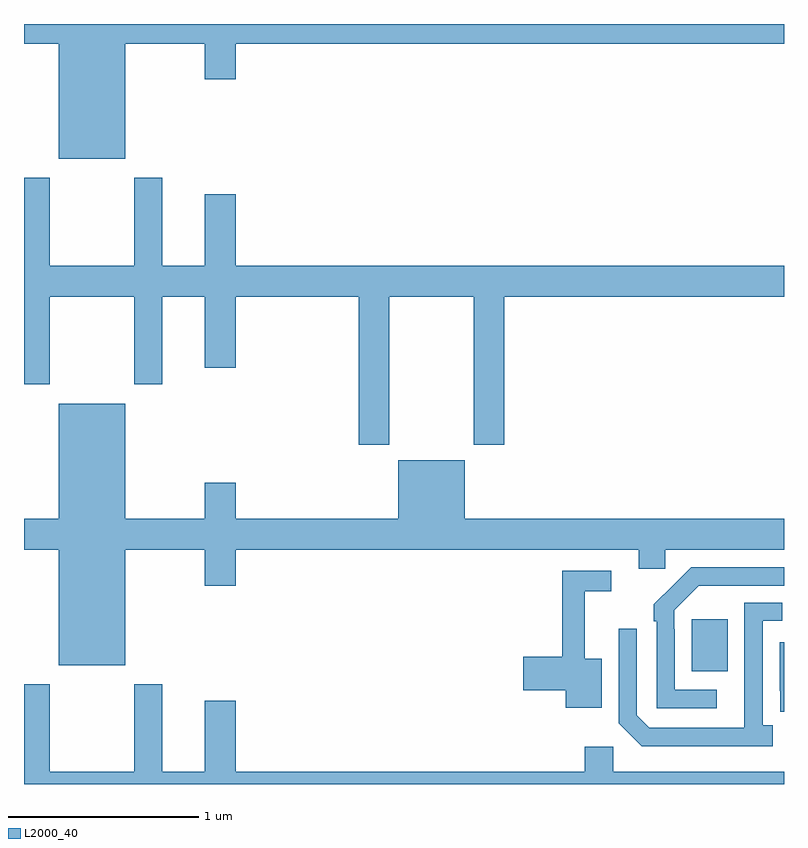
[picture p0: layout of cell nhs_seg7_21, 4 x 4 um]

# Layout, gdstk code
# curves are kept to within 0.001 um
import gdstk
lib = gdstk.Library(unit=1e-6, precision=1e-09)
def R(c, l, rs):  # rectangles x0, y0, x1, y1
    for r in rs: c.add(gdstk.rectangle(r[:2], r[2:], *l))
def P(c, l, *ps):  # polygons
    for p in ps: c.add(gdstk.Polygon(p, *l))
L2000_40 = (2000, 40)

nhs_seg7_21 = lib.new_cell('nhs_seg7_21')
R(nhs_seg7_21, L2000_40, [(114.515,1050.593,114.703,1050.868)])
P(nhs_seg7_21, L2000_40, [(111.532,1053.896),(111.95,1053.896),(111.95,1053.708),(112.114,1053.708),(112.114,1053.896),(115,1053.896),(115,1054),(111,1054),(111,1053.896),(111.182,1053.896),(111.182,1053.29),(111.532,1053.29)],
  [(112.923,1052.564),(113.368,1052.564),(113.368,1051.785),(113.528,1051.785),(113.528,1052.564),(115,1052.564),(115,1052.728),(112.114,1052.728),(112.114,1053.103),(111.95,1053.103),(111.95,1052.728),(111.727,1052.728),(111.727,1053.19),(111.58,1053.19),(111.58,1052.728),(111.135,1052.728),(111.135,1053.19),(111,1053.19),(111,1052.103),(111.135,1052.103),(111.135,1052.564),(111.58,1052.564),(111.58,1052.103),(111.727,1052.103),(111.727,1052.564),(111.95,1052.564),(111.95,1052.19),(112.114,1052.19),(112.114,1052.564),(112.763,1052.564),(112.763,1051.785),(112.923,1051.785)],
  [(111.532,1051.232),(111.95,1051.232),(111.95,1051.044),(112.114,1051.044),(112.114,1051.232),(114.236,1051.232),(114.236,1051.134),(114.375,1051.134),(114.375,1051.232),(115,1051.232),(115,1051.396),(113.32,1051.396),(113.32,1051.705),(112.97,1051.705),(112.97,1051.396),(112.114,1051.396),(112.114,1051.585),(111.95,1051.585),(111.95,1051.396),(111.532,1051.396),(111.532,1052.002),(111.182,1052.002),(111.182,1051.396),(111,1051.396),(111,1051.232),(111.182,1051.232),(111.182,1050.626),(111.532,1050.626)],
  [(114.646,1050.495),(114.426,1050.495),(114.426,1050.815),(114.423,1050.815),(114.423,1050.915),(114.552,1051.044),(115,1051.044),(115,1051.14),(114.512,1051.14),(114.315,1050.945),(114.315,1050.857),(114.33,1050.857),(114.33,1050.399),(114.646,1050.399)],
  [(114.04,1050.658),(113.951,1050.658),(113.951,1051.014),(114.091,1051.014),(114.091,1051.122),(113.833,1051.122),(113.833,1050.671),(113.628,1050.671),(113.628,1050.493),(113.852,1050.493),(113.852,1050.401),(114.04,1050.401)],
  [(114.94,1050.31),(114.888,1050.31),(114.888,1050.858),(114.991,1050.858),(114.991,1050.954),(114.792,1050.954),(114.791,1050.297),(114.291,1050.297),(114.225,1050.363),(114.225,1050.817),(114.129,1050.817),(114.129,1050.321),(114.25,1050.2),(114.94,1050.2)],
  [(115,1050.745),(114.978,1050.745),(114.978,1050.49),(114.979,1050.49),(114.979,1050.381),(115,1050.381)],
  [(115,1050.064),(114.102,1050.064),(114.102,1050.196),(113.951,1050.196),(113.951,1050.064),(112.114,1050.064),(112.114,1050.439),(111.95,1050.439),(111.95,1050.064),(111.727,1050.064),(111.727,1050.526),(111.58,1050.526),(111.58,1050.064),(111.135,1050.064),(111.135,1050.526),(111,1050.526),(111,1050),(115,1050)])

lib.write_gds('nhs_seg7_21.gds')
